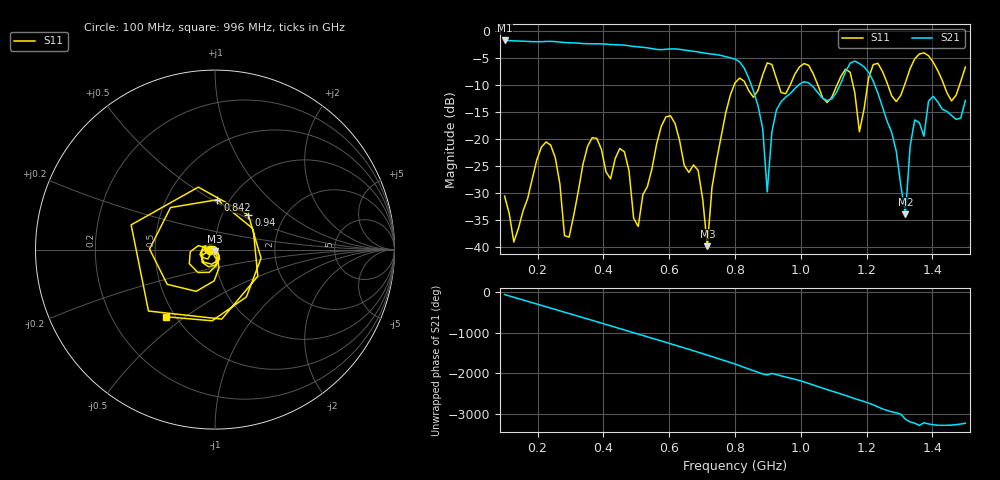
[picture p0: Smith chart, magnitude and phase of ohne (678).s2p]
! NanoVNA-App
! Date: 2025-09-25 14:26:04
! Start: 100MHz Stop: 1,5GHz Points: 101
! S-Parameter data: F S11 S21 S12 S22
# Hz S RI R 50
!  Frequency  S11_Real  S11_Imag  S21_Real  S21_Imag  S12_Real  S12_Imag  S22_Real  S22_Imag
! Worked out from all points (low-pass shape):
!   101 points, 100 MHz to 1.5 GHz, reference 50 ohm
!   highest |S21| = -1.79 dB at 100 MHz (marker M1); lowest = -34.0 dB at 1.318 GHz (marker M2)
!   |S21| within 3 dB of the highest: start of sweep to 771.8 MHz
!   lowest |S11| = -39.9 dB at 716 MHz (marker M3), VSWR 1.02, Z = 49.8 - j0.981 ohm
!   |S11| at or under -10 dB: start of sweep to 797.8 MHz; 833.2 MHz to 875.1 MHz (41.87 MHz wide, 4.9 % of centre); 1.051 GHz to 1.11 GHz (59.03 MHz wide, 5.46 % of centre) (the widest 3 of 7)
!   S12 and S22 are empty: the file has one direction only
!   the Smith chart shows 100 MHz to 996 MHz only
!   S11 on the Smith chart (normalised r, x): 100 MHz: 0.94, -0.01; 842 MHz: 0.88, +0.53; 940 MHz: 1.33, +0.55; 996 MHz: 0.45, -0.42
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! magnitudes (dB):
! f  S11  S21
! 100 MHz  -30.6  -1.8
! 128 MHz  -39.1  -1.9
! 226 MHz  -20.6  -2.0
! 296 MHz  -38.2  -2.2
! 338 MHz  -24.8  -2.4
! 464 MHz  -22.4  -2.7
! 506 MHz  -36.2  -3.0
! 576 MHz  -17.7  -3.5
! 688 MHz  -25.9  -3.9
! 716 MHz  -39.9  -4.2
! 800 MHz  -9.7  -5.2
! 842 MHz  -11.1  -8.8
! 898 MHz  -5.9  -29.8
! 940 MHz  -11.4  -13.1
! 996 MHz  -6.7  -9.9
! 1.038 GHz  -8.0  -10.4
! 1.178 GHz  -18.7  -6.1
! 1.22 GHz  -6.3  -9.3
! 1.276 GHz  -12.0  -18.8
! 1.318 GHz  -9.6  -34.0
! 1.346 GHz  -5.2  -16.5
! 1.5 GHz  -6.7  -12.9
